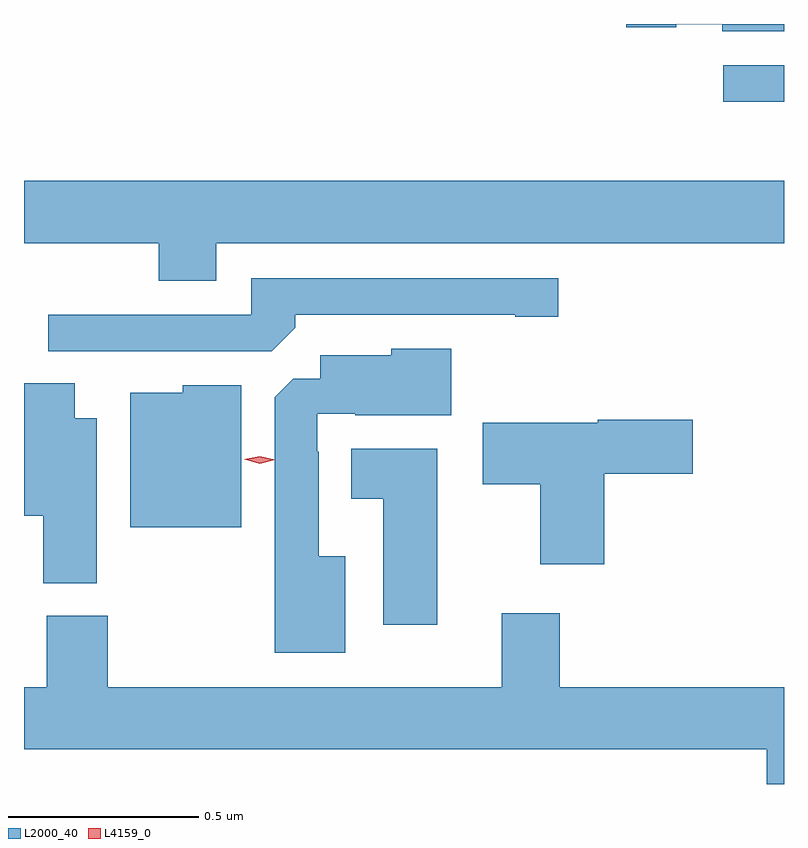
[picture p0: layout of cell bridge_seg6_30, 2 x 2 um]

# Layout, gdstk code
import gdstk
lib = gdstk.Library(unit=1e-6, precision=1e-09)
def R(c, l, rs):  # rectangles x0, y0, x1, y1
    for r in rs: c.add(gdstk.rectangle(r[:2], r[2:], *l))
def P(c, l, *ps):  # polygons
    for p in ps: c.add(gdstk.Polygon(p, *l))
L2000_40 = (2000, 40)
L4159_0 = (4159, 0)

bridge_seg6_30 = lib.new_cell('bridge_seg6_30')
R(bridge_seg6_30, L2000_40, [(1103.985,992.997,1104.145,993.093)])
P(bridge_seg6_30, L2000_40, [(1104.145,993.201),(1103.73,993.201),(1103.73,993.193),(1103.862,993.193),(1103.862,993.2),(1103.982,993.2),(1103.982,993.182),(1104.145,993.182)],
  [(1102.651,992.624),(1104.145,992.624),(1104.145,992.788),(1102.145,992.788),(1102.145,992.624),(1102.499,992.624),(1102.499,992.525),(1102.651,992.525)],
  [(1102.859,992.402),(1102.859,992.436),(1103.438,992.436),(1103.438,992.431),(1103.551,992.431),(1103.551,992.532),(1102.743,992.532),(1102.743,992.436),(1102.209,992.436),(1102.209,992.34),(1102.797,992.34)],
  [(1102.99,991.801),(1102.921,991.801),(1102.921,992.075),(1102.917,992.075),(1102.917,992.175),(1103.017,992.175),(1103.017,992.171),(1103.269,992.171),(1103.269,992.347),(1103.112,992.347),(1103.112,992.329),(1102.925,992.329),(1102.925,992.268),(1102.854,992.268),(1102.805,992.219),(1102.805,991.547),(1102.99,991.547)],
  [(1102.336,992.164),(1102.279,992.164),(1102.279,992.255),(1102.145,992.255),(1102.145,991.907),(1102.195,991.907),(1102.195,991.729),(1102.336,991.729)],
  [(1102.717,992.251),(1102.563,992.251),(1102.563,992.23),(1102.424,992.23),(1102.424,991.877),(1102.717,991.877)],
  [(1103.672,992.018),(1103.905,992.018),(1103.905,992.16),(1103.655,992.16),(1103.655,992.152),(1103.352,992.152),(1103.352,991.99),(1103.504,991.99),(1103.504,991.779),(1103.672,991.779)],
  [(1103.233,992.083),(1103.006,992.083),(1103.006,991.952),(1103.09,991.952),(1103.09,991.62),(1103.233,991.62)],
  [(1104.145,991.456),(1103.555,991.456),(1103.555,991.651),(1103.402,991.651),(1103.402,991.456),(1102.365,991.456),(1102.365,991.644),(1102.205,991.644),(1102.205,991.456),(1102.145,991.456),(1102.145,991.292),(1104.099,991.292),(1104.099,991.201),(1104.145,991.201)])
P(bridge_seg6_30, L4159_0, [(1102.765,992.044),(1102.724,992.055),(1102.724,992.055),(1102.724,992.055),(1102.765,992.064),(1102.806,992.054),(1102.806,992.054),(1102.806,992.054)])

lib.write_gds('bridge_seg6_30.gds')
